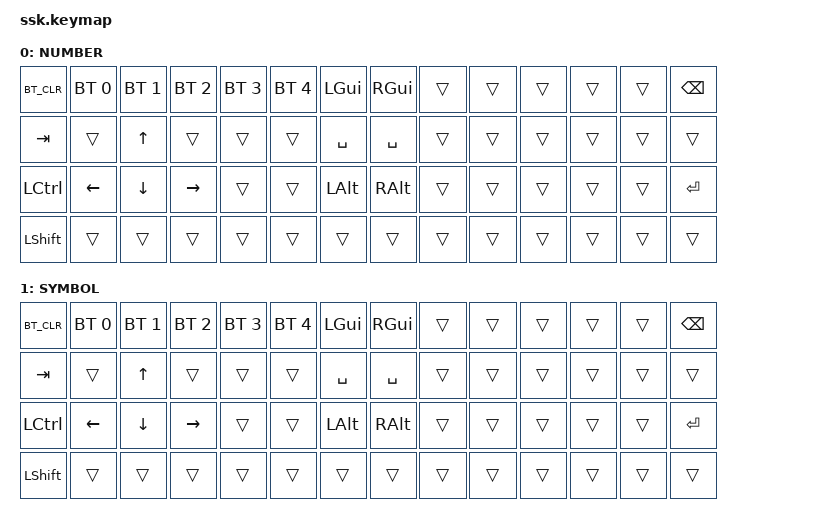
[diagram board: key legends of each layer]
/*
 * Copyright (c) 2022 Pete Johanson
 *
 * SPDX-License-Identifier: MIT
 */

#include <behaviors.dtsi>
#include <dt-bindings/zmk/keys.h>
#include <dt-bindings/zmk/bt.h>

/{
    chosen{
        zmk,matrix-transform = &default_transform;
        // zmk,matrix_transform = &five_colum_transform;
    };
};

/{
    keymap{
        compatible = "zmk,keymap";

        default_layer{
            display-name = "QWERTY";
// --------------------------------------------------------------------------------------------
// |  ESC |  1  |  2  |  3  |  4  |  5  | GUI |   | GUI |  6  |  7   |  8  |  9  |  0  | BKSP |
// |  TAB |  Q  |  W  |  E  |  R  |  T  | SPC |   | SPC |  Y  |  U   |  I  |  O  |  P  |  /   |
// | CTRL |  A  |  S  |  D  |  F  |  G  | ALT |   | ALT |  H  |  J   |  K  |  L  |  ;  | ENT  |
// | SHFT |  Z  |  X  |  C  |  V  |  B  | LWR |   | RSE |  N  |  M   |  ,  |  .  |  /  | CTRL |
            binding = <
&kp ESC   &kp 1 &kp 2 &kp 3 &kp 4 &kp 5 &kp LGUI   &kp RGUI  &kp 6 &kp 7  &kp 8     &kp 9   &kp 0    &kp BSPC
&kp TAB   &kp Q &kp W &kp E &kp R &kp T &kp SPACE  &kp SPACE &kp Y &kp U  &kp I     &kp O   &kp P    &kp BSLH
&kp LCTRL &kp A &kp S &kp D &kp F &kp G &kp LALT   &kp RALT  &kp H &kp J  &kp K     &kp L   &kp SEMI &kp RET
&kp LSHFT &kp Z &kp X &kp C &kp V &kp B &mo 1      &mo 2     &kp N &kp M  &kp COMMA &kp DOT &kp FSLH &kp RCTRL
            >;
        };

        lower_layer{
            display-name = "NUMBER";
// -------------------------------------------------------------------------------------------
// | BTCRL| BT1 | BT2 | BT3 | BT4 | BT5 | GUI |   | GUI |     |     |     |     |     | BKSP |
// |  TAB |     |  UP |     |     |     | SPC |   | SPC |     |     |     |     |     |      |
// | CTRL | LFT | DWN | RGT |     |     | ALT |   | ALT |     |     |     |     |     | ENT  |
// | SHFT |     |     |     |     |     |     |   |     |     |     |     |     |     |      |
            bindings = <
&kp BT_CLR &bt BT_SEL 0 &bt BT_SEL 1 &bt BT_SEL 2 &bt BT_SEL 3 &bt BT_SEL 4 &kp LGUI   &kp RGUI  &trans &trans &trans &trans &trans &kp BSPC
&kp TAB    &trans       &kp UP       &trans       &trans       &trans       &kp SPACE  &kp SPACE &trans &trans &trans &trans &trans &trans
&kp LCTRL  &kp LEFT     &kp DOWN     &kp RIGHT    &trans       &trans       &kp LALT   &kp RALT  &trans &trans &trans &trans &trans &kp RET
&kp LSHFT  &trans       &trans       &trans       &trans       &trans       &trans     &trans    &trans &trans &trans &trans &trans &trans
            >;
        };

        raise_layer{
            display-name = "SYMBOL";
// -------------------------------------------------------------------------------------------
// |  TAB |  !  |  @  |  #  |  $  |  %  |     |   |     |  ^  |  &  |  *  |  (  |  )  | BKSP |
// |  TAB |     |  UP |     |     |     | SPC |   | SPC |     |     |     |     |     |      |
// | CTRL | LFT | DWN | RGT |     |     | ALT |   | ALT |     |     |     |     |     | ENT  |
// | SHFT |     |     |     |     |     |     |   |     |     |     |     |     |     |      |
            bindings = <
&kp BT_CLR &bt BT_SEL 0 &bt BT_SEL 1 &bt BT_SEL 2 &bt BT_SEL 3 &bt BT_SEL 4 &kp LGUI   &kp RGUI  &trans &trans &trans &trans &trans &kp BSPC
&kp TAB    &trans       &kp UP       &trans       &trans       &trans       &kp SPACE  &kp SPACE &trans &trans &trans &trans &trans &trans
&kp LCTRL  &kp LEFT     &kp DOWN     &kp RIGHT    &trans       &trans       &kp LALT   &kp RALT  &trans &trans &trans &trans &trans &kp RET
&kp LSHFT  &trans       &trans       &trans       &trans       &trans       &trans     &trans    &trans &trans &trans &trans &trans &trans
            >;
        };
    };
};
